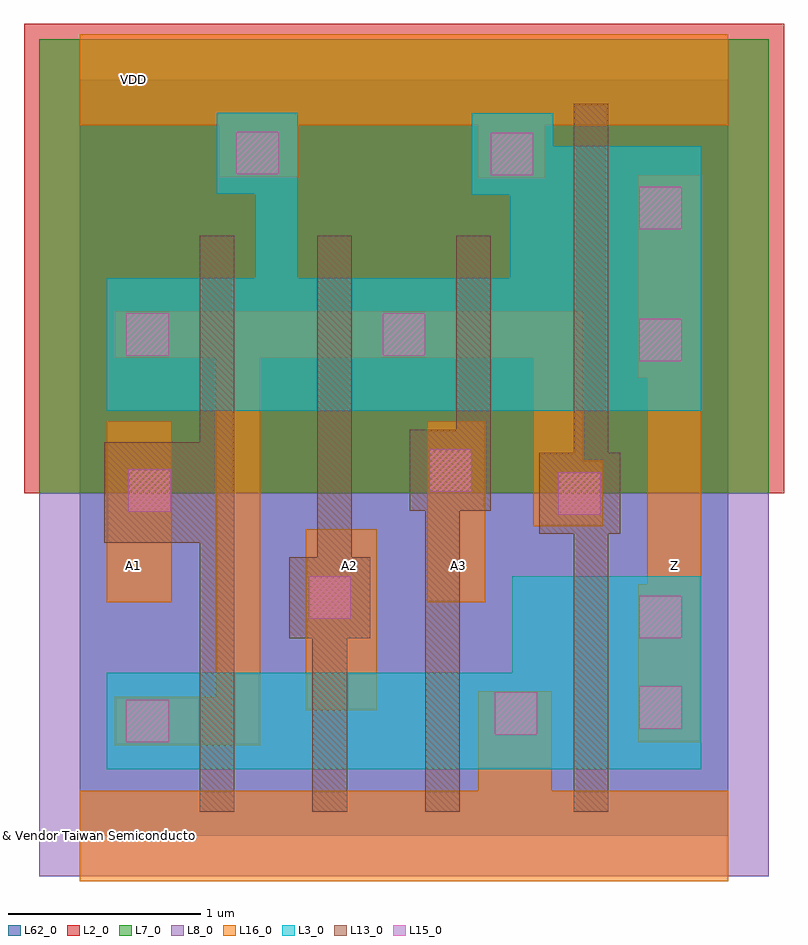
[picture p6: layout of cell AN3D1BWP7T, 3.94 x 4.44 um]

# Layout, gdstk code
import gdstk
lib = gdstk.Library(unit=1e-6, precision=1e-09)
def R(c, l, rs):  # rectangles x0, y0, x1, y1
    for r in rs: c.add(gdstk.rectangle(r[:2], r[2:], *l))
def P(c, l, *ps):  # polygons
    for p in ps: c.add(gdstk.Polygon(p, *l))
L2_0 = (2, 0)
L3_0 = (3, 0)
L7_0 = (7, 0)
L8_0 = (8, 0)
L13_0 = (13, 0)
L15_0 = (15, 0)
L16_0 = (16, 0)
L62_0 = (62, 0)

an3d1bwp7t = lib.new_cell('AN3D1BWP7T')
R(an3d1bwp7t, L2_0, [(-0.29,1.775,3.65,4.21)])
P(an3d1bwp7t, L3_0, [(0.14,0.345),(0.14,0.845),(2.24,0.845),(2.24,1.345),(3.22,1.345),(3.22,0.345)],
  [(0.14,2.205),(0.14,2.89),(0.91,2.89),(0.91,3.33),(0.71,3.33),(0.71,3.75),(1.13,3.75),(1.13,2.89),(2.23,2.89),(2.23,3.325),(2.03,3.325),(2.03,3.745),(2.455,3.745),(2.455,3.575),(3.22,3.575),(3.22,2.205)])
R(an3d1bwp7t, L7_0, [(-0.21,1.775,3.57,4.13)])
R(an3d1bwp7t, L8_0, [(-0.21,-0.21,3.57,1.775)])
P(an3d1bwp7t, L13_0, [(2.56,0.125),(2.56,1.565),(2.38,1.565),(2.38,1.985),(2.56,1.985),(2.56,3.795),(2.74,3.795),(2.74,1.985),(2.8,1.985),(2.8,1.565),(2.74,1.565),(2.74,0.125)],
  [(1.79,0.125),(1.79,1.685),(1.71,1.685),(1.71,2.105),(1.95,2.105),(1.95,3.11),(2.13,3.11),(2.13,1.685),(1.97,1.685),(1.97,0.125)],
  [(1.205,0.125),(1.205,1.025),(1.085,1.025),(1.085,1.445),(1.23,1.445),(1.23,3.11),(1.41,3.11),(1.41,1.445),(1.505,1.445),(1.505,1.025),(1.385,1.025),(1.385,0.125)],
  [(0.62,0.125),(0.62,1.52),(0.125,1.52),(0.125,2.04),(0.62,2.04),(0.62,3.11),(0.8,3.11),(0.8,0.125)])
R(an3d1bwp7t, L15_0, [(0.24,0.485,0.46,0.705), (2.15,0.525,2.37,0.745), (2.9,0.555,3.12,0.775), (2.9,1.025,3.12,1.245), (1.185,1.125,1.405,1.345), (2.48,1.665,2.7,1.885), (0.25,1.68,0.47,1.9), (1.81,1.785,2.03,2.005), (2.9,2.46,3.12,2.68), (0.24,2.49,0.46,2.71), (1.57,2.49,1.79,2.71), (2.9,3.145,3.12,3.365), (2.13,3.425,2.35,3.645), (0.81,3.43,1.03,3.65)])
R(an3d1bwp7t, L16_0, [(1.17,0.65,1.54,1.59), (0.14,1.21,0.475,2.15), (1.8,1.21,2.1,2.15)])
P(an3d1bwp7t, L16_0, [(0,-0.235),(0,0.235),(2.065,0.235),(2.065,0.75),(2.445,0.75),(2.445,0.235),(3.36,0.235),(3.36,-0.235)],
  [(2.065,3.41),(2.065,3.685),(1.135,3.685),(1.135,3.415),(0.72,3.415),(0.72,3.685),(0,3.685),(0,4.155),(3.36,4.155),(3.36,3.685),(2.41,3.685),(2.41,3.41)],
  [(2.895,0.485),(2.895,1.305),(2.94,1.305),(2.94,2.375),(2.895,2.375),(2.895,3.425),(3.22,3.425),(3.22,0.485)],
  [(0.18,0.47),(0.18,0.72),(0.705,0.72),(0.705,2.48),(0.18,2.48),(0.18,2.72),(2.61,2.72),(2.61,1.945),(2.71,1.945),(2.71,1.605),(2.35,1.605),(2.35,2.48),(0.935,2.48),(0.935,0.47)])
R(an3d1bwp7t, L62_0, [(0,0,3.36,3.92)])
an3d1bwp7t.add(gdstk.Label('& Vendor Taiwan Semiconductor Manufacturing Corp.', (0,0), layer=63, texttype=63))
an3d1bwp7t.add(gdstk.Label('& Product tcb018gbwp7t', (0,0), layer=63, texttype=63))
an3d1bwp7t.add(gdstk.Label('& Version 270a', (0,0), layer=63, texttype=63))
an3d1bwp7t.add(gdstk.Label('& Metric 13.171', (0,0), layer=63, texttype=63))
an3d1bwp7t.add(gdstk.Label('& Distributor TSMC', (0,0), layer=63, texttype=63))
an3d1bwp7t.add(gdstk.Label('& SerialNumber 000000', (0,0), layer=63, texttype=63))
an3d1bwp7t.add(gdstk.Label('& _Instance_tag AN3D1BWP7T', (0,0), layer=63, texttype=63))
an3d1bwp7t.add(gdstk.Label('& Vendor Taiwan Semiconductor Manufacturing Corp.', (0,0), layer=11, texttype=0))
an3d1bwp7t.add(gdstk.Label('& Product tcb018gbwp7t', (0,0), layer=11, texttype=0))
an3d1bwp7t.add(gdstk.Label('& Version 270a', (0,0), layer=11, texttype=0))
an3d1bwp7t.add(gdstk.Label('& Metric 13.171', (0,0), layer=11, texttype=0))
an3d1bwp7t.add(gdstk.Label('& Distributor TSMC', (0,0), layer=11, texttype=0))
an3d1bwp7t.add(gdstk.Label('& SerialNumber 000000', (0,0), layer=11, texttype=0))
an3d1bwp7t.add(gdstk.Label('& _Instance_tag AN3D1BWP7T', (0,0), layer=11, texttype=0))
an3d1bwp7t.add(gdstk.Label('AN3D1BWP7T', (0,0), layer=59, texttype=0))
an3d1bwp7t.add(gdstk.Label('VSS', (0.28,0), layer=40, texttype=0))
an3d1bwp7t.add(gdstk.Label('A1', (0.28,1.4), layer=40, texttype=0))
an3d1bwp7t.add(gdstk.Label('VDD', (0.28,3.92), layer=40, texttype=0))
an3d1bwp7t.add(gdstk.Label('A2', (1.4,1.4), layer=40, texttype=0))
an3d1bwp7t.add(gdstk.Label('A3', (1.96,1.4), layer=40, texttype=0))
an3d1bwp7t.add(gdstk.Label('Z', (3.08,1.4), layer=40, texttype=0))

lib.write_gds('AN3D1BWP7T.gds')
